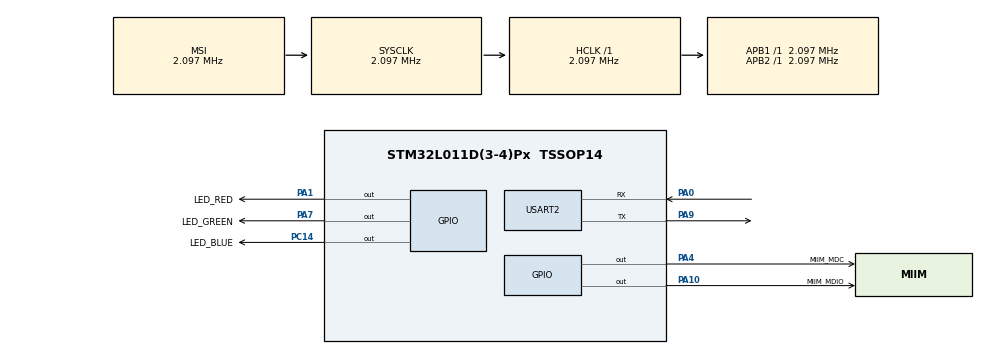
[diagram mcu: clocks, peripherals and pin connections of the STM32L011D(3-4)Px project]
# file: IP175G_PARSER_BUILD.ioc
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Dma.Request0=USART2_RX
Dma.Request1=USART2_TX
Dma.USART2_RX.0.Direction=DMA_PERIPH_TO_MEMORY
Dma.USART2_RX.0.Instance=DMA1_Channel5
Dma.USART2_RX.0.MemDataAlignment=DMA_MDATAALIGN_BYTE
Dma.USART2_RX.0.MemInc=DMA_MINC_ENABLE
Dma.USART2_RX.0.Mode=DMA_NORMAL
Dma.USART2_RX.0.PeriphDataAlignment=DMA_PDATAALIGN_BYTE
Dma.USART2_RX.0.PeriphInc=DMA_PINC_DISABLE
Dma.USART2_RX.0.Priority=DMA_PRIORITY_LOW
Dma.USART2_TX.1.Direction=DMA_MEMORY_TO_PERIPH
Dma.USART2_TX.1.Instance=DMA1_Channel4
Dma.USART2_TX.1.MemDataAlignment=DMA_MDATAALIGN_BYTE
Dma.USART2_TX.1.MemInc=DMA_MINC_ENABLE
Dma.USART2_TX.1.Mode=DMA_NORMAL
Dma.USART2_TX.1.PeriphDataAlignment=DMA_PDATAALIGN_BYTE
Dma.USART2_TX.1.PeriphInc=DMA_PINC_DISABLE
Dma.USART2_TX.1.Priority=DMA_PRIORITY_LOW
Mcu.Family=STM32L0
Mcu.Name=STM32L011D(3-4)Px
Mcu.Package=TSSOP14
NVIC.DMA1_Channel4_5_IRQn=true\:0\:0\:false\:false\:true\:false\:true
PA0-CK_IN.Mode=Asynchronous
PA0-CK_IN.Signal=USART2_RX
PA1.GPIO_Label=LED_RED
PA1.Signal=GPIO_Output
PA10.GPIO_Label=MIIM_MDIO
PA10.Signal=GPIO_Output
PA13.Mode=Serial_Wire
PA13.Signal=SYS_SWDIO
PA14.Mode=Serial_Wire
PA14.Signal=SYS_SWCLK
PA4.GPIO_Label=MIIM_MDC
PA4.Signal=GPIO_Output
PA7.GPIO_Label=LED_GREEN
PA7.Signal=GPIO_Output
PA9.Mode=Asynchronous
PA9.Signal=USART2_TX
PC14-OSC32_IN.GPIO_Label=LED_BLUE
PC14-OSC32_IN.Signal=GPIO_Output
ProjectManager.HeapSize=0x200
ProjectManager.StackSize=0x400
ProjectManager.TargetToolchain=STM32CubeIDE
RCC.AHBFreq_Value=2097000
RCC.APB1Freq_Value=2097000
RCC.APB1TimFreq_Value=2097000
RCC.APB2Freq_Value=2097000
RCC.APB2TimFreq_Value=2097000
RCC.HSE_VALUE=8000000
RCC.HSI16_VALUE=16000000
RCC.HSI_VALUE=16000000
RCC.LSE_VALUE=32768
RCC.MSI_VALUE=2097000
RCC.SYSCLKFreq_VALUE=2097000
RCC.VCOOutputFreq_Value=48000000
USART2.VirtualMode-Asynchronous=VM_ASYNC
board=custom

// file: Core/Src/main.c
/* USER CODE BEGIN Header */
/**
  ******************************************************************************
  * @file           : main.c
  * @brief          : Main program body
  ******************************************************************************
  * @attention
  *
  * <h2><center>&copy; Copyright (c) 2020 STMicroelectronics.
  * All rights reserved.</center></h2>
  *
  * This software component is licensed by ST under BSD 3-Clause license,
  * the "License"; You may not use this file except in compliance with the
  * License. You may obtain a copy of the License at:
  *                        opensource.org/licenses/BSD-3-Clause
  *
  ******************************************************************************
  */
/* USER CODE END Header */
#include "main.h"
#include "miim_library.h"

/* USER CODE BEGIN PD */
#define buffer_size 4
#define stop_condition 100
#define erase_condition 101

#define data_eeprom_base_addr 0x08080000
#define data_eeprom_end_addr 0x080801FF

#define maximum_commands 20

#define data_eeprom_first_byte_mask 255
#define data_eeprom_second_byte_mask 65280
#define data_eeprom_third_byte_mask 16711680
#define data_eeprom_fourth_byte_mask 4278190080
/* USER CODE END PD */

UART_HandleTypeDef huart2;
DMA_HandleTypeDef hdma_usart2_rx;
DMA_HandleTypeDef hdma_usart2_tx;

/* USER CODE BEGIN PV */
uint8_t Is_Commands_Ready = 0;

uint8_t Error[] = {2};
uint8_t Success[] = {1};

uint8_t Buffer_Tx[buffer_size] = {80,81,82,83};
uint8_t Buffer_Rx[buffer_size];

uint8_t Commands_Total[maximum_commands][buffer_size];
uint8_t Commands_Current_Index = 0;

/* USER CODE END PV */

void SystemClock_Config(void);
static void MX_GPIO_Init(void);
static void MX_DMA_Init(void);
static void MX_USART2_UART_Init(void);

/* USER CODE BEGIN 0 */
//void HAL_UART_TxCpltCallback(UART_HandleTypeDef *huart) {
//	HAL_UART_Transmit_DMA(&huart2, Buffer_Tx, buffer_size);
//}

void HAL_UART_RxCpltCallback(UART_HandleTypeDef *huart) {
	if(Is_Erase()) {
		Erase_Eeprom_All();
	} else if(Has_Stopped()){
		Is_Commands_Ready = 1;
	} else {
		Store_Temp_Command();
	}

	HAL_UART_Receive_DMA(&huart2, Buffer_Rx, buffer_size);
}

uint8_t Has_Stopped() {
	uint8_t value_to_check = Buffer_Rx[0];
	switch(value_to_check) {
		case stop_condition:
			return 1;
		default:
			return 0;
	}
	return 0;
}

uint8_t Is_Erase() {
	uint8_t value_to_check = Buffer_Rx[0];
	switch(value_to_check) {
		case erase_condition:
			return 1;
		default:
			return 0;
	}
	return 0;
}

void Store_Temp_Command() {
	for(uint8_t i = 0; i < buffer_size; i++) {
		Commands_Total[Commands_Current_Index][i] = Buffer_Rx[i];
	}

	Commands_Current_Index++;
}

void Write_Commands_To_IC() {
	uint8_t PHY;
	uint8_t REG;
	uint16_t Data;

	for(uint8_t Cmd_Index = 0; Cmd_Index < maximum_commands; Cmd_Index++) {
		PHY = Commands_Total[Cmd_Index][0];
		REG = Commands_Total[Cmd_Index][1];

		// Test to see if PHY or REG are not acceptable values
		if(PHY < 2 || PHY > 24 || REG > 32) {
			break;
		}

		// We are going to assume that for now, the data is sent with the smallest byte [0:7] bits first, then [8:15]
		Data = ((uint16_t) Commands_Total[Cmd_Index][3] << 8) | (Commands_Total[Cmd_Index][2]);

		MIIM_DRIVER_WRITE(PHY, REG, Data);
		MDIO_WAIT(1);
	}

	// Uncomment the following code to verify what was written to the MCU
	/*
	for(uint8_t Cmd_Index = 0; Cmd_Index < maximum_commands; Cmd_Index++) {
		PHY = Commands_Total[Cmd_Index][0];
		REG = Commands_Total[Cmd_Index][1];
		if(PHY < 2 || PHY > 24 || REG > 32) {
			break;
		}
		// To verify what was written to the switch chip, add "dynamic printf"-type breakpoint to the following MDIO_WAIT line.
		// "%u:%02u 0x%02x 0x%02x (%u %u)\n", PHY, REG, Data & 0xFF, (Data >> 8) & 0xFF, Data & 0xFF, (Data >> 8) & 0xFF
		Data = MIIM_DRIVER_READ(PHY, REG);
		MDIO_WAIT(1);
	}
	// */
}

uint8_t Save_Commands_To_Eeprom() {
	uint32_t Current_Eeprom_Addr = data_eeprom_base_addr;
	uint32_t Data_Word;

	if (HAL_FLASHEx_DATAEEPROM_Unlock() == HAL_OK) {
		for(uint8_t i = 0; i < maximum_commands; i++) {
			// Write to the EEPROM address in multiples of 4 bytes as we are writing a 32 bit word at a time
			Current_Eeprom_Addr += 4;

			Erase_Eeprom_Addr(Current_Eeprom_Addr);

			// Create the 32 bit word from the 4x byte command
			Data_Word = (((uint32_t) Commands_Total[i][3] << 24) | ((uint32_t) Commands_Total[i][2] << 16) | ((uint32_t) Commands_Total[i][1] << 8) | (Commands_Total[i][0]));

			Write_Eeprom_Addr(Current_Eeprom_Addr, Data_Word);
		}
		if(HAL_FLASHEx_DATAEEPROM_Lock() == HAL_OK) {
			return 0;
		} else {
			Error_Handler();
			return 1;
		}
	} else {
		Error_Handler();
		return 1;
	}
	HAL_GPIO_TogglePin(GPIOA, LED_RED_Pin);
}

void Erase_Eeprom_Addr(uint32_t Eeprom_Address) {
	if(HAL_FLASHEx_DATAEEPROM_Erase(Eeprom_Address) == HAL_OK) {
		return;
	} else {
		Error_Handler();
	}
}

void Write_Eeprom_Addr(uint32_t Eeprom_Address, uint32_t Data) {
	if(HAL_FLASHEx_DATAEEPROM_Program(FLASH_TYPEPROGRAMDATA_WORD, Eeprom_Address, Data) == HAL_OK) {
		return;
	} else {
		Error_Handler();
	}
}

void Read_Eeprom_Data() {
	uint32_t Current_Eeprom_Addr = data_eeprom_base_addr;
	uint32_t Command;
	uint8_t PHY;
	uint8_t REG;

	for(uint8_t i = 0; i < maximum_commands; i++) {
		Current_Eeprom_Addr += 4;
		Command = *(uint32_t *)(Current_Eeprom_Addr);

		PHY = (uint8_t) (Command & data_eeprom_first_byte_mask);
		REG = (uint8_t) ((Command & data_eeprom_second_byte_mask) >> 8);

		// Check for invalid PHY and REG
		if(PHY < 2 || PHY > 24 || REG > 32) {
			break;
		}

		Commands_Total[i][0] = PHY;
		Commands_Total[i][1] = REG;
		Commands_Total[i][2] = (uint8_t) ((Command & data_eeprom_third_byte_mask) >> 16);
		Commands_Total[i][3] = (uint8_t) ((Command & data_eeprom_fourth_byte_mask) >> 24);
	}
}

void Configuration_From_Eeprom() {
	Read_Eeprom_Data();
	Blue_Light();
	Write_Commands_To_IC();
	Green_Light();

	// Reset each value in the Commands_Total array
	for(uint8_t i = 0; i < maximum_commands; i++) {
		Commands_Total[i][0] = 0;
		Commands_Total[i][1] = 0;
		Commands_Total[i][2] = 0;
		Commands_Total[i][3] = 0;
	}
}

uint8_t Erase_Eeprom_All(void) {
	uint32_t Current_Eeprom_Addr = data_eeprom_base_addr;

	if(HAL_FLASHEx_DATAEEPROM_Unlock() == HAL_OK) {
		for(uint8_t i = 0; i < maximum_commands; i++) {
			Current_Eeprom_Addr += 4;

			Erase_Eeprom_Addr(Current_Eeprom_Addr);

		}
		if(HAL_FLASHEx_DATAEEPROM_Lock() == HAL_OK) {
			return 0;
		} else {
			Error_Handler();
			return 1;
		}
	} else {
		Error_Handler();
		return 1;
	}

}

void Send_Error_Via_Uart() {
	HAL_UART_Transmit(&huart2, Error, sizeof(Error), 100);
	Red_Light();
}

void Send_Success_Via_Uart() {
	HAL_UART_Transmit(&huart2, Success, sizeof(Success), 100);
	Blue_Light();
}

void Blue_Light() {
	HAL_GPIO_WritePin(LED_BLUE_GPIO_Port, LED_BLUE_Pin, GPIO_PIN_RESET);
	HAL_GPIO_WritePin(GPIOA, LED_RED_Pin|LED_GREEN_Pin, GPIO_PIN_SET);
}

void Red_Light() {
	HAL_GPIO_WritePin(LED_BLUE_GPIO_Port, LED_BLUE_Pin, GPIO_PIN_SET);
	HAL_GPIO_WritePin(GPIOA, LED_GREEN_Pin, GPIO_PIN_SET);
	HAL_GPIO_WritePin(GPIOA, LED_RED_Pin, GPIO_PIN_RESET);
}

void Green_Light() {
	HAL_GPIO_WritePin(LED_BLUE_GPIO_Port, LED_BLUE_Pin, GPIO_PIN_SET);
	HAL_GPIO_WritePin(GPIOA, LED_RED_Pin, GPIO_PIN_SET);
	HAL_GPIO_WritePin(GPIOA, LED_GREEN_Pin, GPIO_PIN_RESET);
}

void White_Light() {
	HAL_GPIO_WritePin(LED_BLUE_GPIO_Port, LED_BLUE_Pin, GPIO_PIN_RESET);
	HAL_GPIO_WritePin(GPIOA, LED_RED_Pin|LED_GREEN_Pin, GPIO_PIN_RESET);
}

/* USER CODE END 0 */

int main(void)
{

  /* MCU Configuration--------------------------------------------------------*/
//  uint32_t JumpAddress= *(volatile uint32_t *)(0x1FFF0000 + 4);
//  void (* boot_loader)(void) = (void *) JumpAddress;
//  SYSCFG->CFGR1 = 0x1;  //Remap 0x00000000 to System Memory
//  boot_loader();

  /* Reset of all peripherals, Initializes the Flash interface and the Systick. */
   HAL_Init();

  /* Configure the system clock */
  SystemClock_Config();

  /* Initialize all configured peripherals */
  MX_GPIO_Init();
  MX_DMA_Init();
  MX_USART2_UART_Init();
  /* USER CODE BEGIN 2 */
  HAL_Delay(1000);
  Configuration_From_Eeprom();

  HAL_UART_Receive_DMA(&huart2, Buffer_Rx, buffer_size);

  /* USER CODE END 2 */

  /* Infinite loop */
  while (1)
  {

    /* USER CODE BEGIN 3 */
	  if(Is_Commands_Ready) {
		  Red_Light();
		  Write_Commands_To_IC();
		  Green_Light();
		  uint8_t Condition = Save_Commands_To_Eeprom();
		  if(Condition == 0) {
			  // Success
			  Send_Success_Via_Uart();
		  } else if(Condition == 1) {
			  // Failure
			  Send_Error_Via_Uart();
		  }

		  Is_Commands_Ready = 0;
		  Commands_Current_Index = 0;

		  // Reset the LED to emit white light
		  HAL_Delay(500);
		  Green_Light();
	  }
  }
  /* USER CODE END 3 */
}

void SystemClock_Config(void)
{
  RCC_OscInitTypeDef RCC_OscInitStruct = {0};
  RCC_ClkInitTypeDef RCC_ClkInitStruct = {0};
  RCC_PeriphCLKInitTypeDef PeriphClkInit = {0};

  /** Configure the main internal regulator output voltage
  */
  __HAL_PWR_VOLTAGESCALING_CONFIG(PWR_REGULATOR_VOLTAGE_SCALE1);
  /** Initializes the RCC Oscillators according to the specified parameters
  * in the RCC_OscInitTypeDef structure.
  */
  RCC_OscInitStruct.OscillatorType = RCC_OSCILLATORTYPE_MSI;
  RCC_OscInitStruct.MSIState = RCC_MSI_ON;
  RCC_OscInitStruct.MSICalibrationValue = 0;
  RCC_OscInitStruct.MSIClockRange = RCC_MSIRANGE_5;
  RCC_OscInitStruct.PLL.PLLState = RCC_PLL_NONE;
  if (HAL_RCC_OscConfig(&RCC_OscInitStruct) != HAL_OK)
  {
    Error_Handler();
  }
  /** Initializes the CPU, AHB and APB buses clocks
  */
  RCC_ClkInitStruct.ClockType = RCC_CLOCKTYPE_HCLK|RCC_CLOCKTYPE_SYSCLK
                              |RCC_CLOCKTYPE_PCLK1|RCC_CLOCKTYPE_PCLK2;
  RCC_ClkInitStruct.SYSCLKSource = RCC_SYSCLKSOURCE_MSI;
  RCC_ClkInitStruct.AHBCLKDivider = RCC_SYSCLK_DIV1;
  RCC_ClkInitStruct.APB1CLKDivider = RCC_HCLK_DIV1;
  RCC_ClkInitStruct.APB2CLKDivider = RCC_HCLK_DIV1;

  if (HAL_RCC_ClockConfig(&RCC_ClkInitStruct, FLASH_LATENCY_0) != HAL_OK)
  {
    Error_Handler();
  }
  PeriphClkInit.PeriphClockSelection = RCC_PERIPHCLK_USART2;
  PeriphClkInit.Usart2ClockSelection = RCC_USART2CLKSOURCE_PCLK1;
  if (HAL_RCCEx_PeriphCLKConfig(&PeriphClkInit) != HAL_OK)
  {
    Error_Handler();
  }
}

static void MX_USART2_UART_Init(void)
{

  huart2.Instance = USART2;
  huart2.Init.BaudRate = 115200;
  huart2.Init.WordLength = UART_WORDLENGTH_8B;
  huart2.Init.StopBits = UART_STOPBITS_1;
  huart2.Init.Parity = UART_PARITY_NONE;
  huart2.Init.Mode = UART_MODE_TX_RX;
  huart2.Init.HwFlowCtl = UART_HWCONTROL_NONE;
  huart2.Init.OverSampling = UART_OVERSAMPLING_16;
  huart2.Init.OneBitSampling = UART_ONE_BIT_SAMPLE_DISABLE;
  huart2.AdvancedInit.AdvFeatureInit = UART_ADVFEATURE_NO_INIT;
  if (HAL_UART_Init(&huart2) != HAL_OK)
  {
    Error_Handler();
  }

}

static void MX_DMA_Init(void)
{

  /* DMA controller clock enable */
  __HAL_RCC_DMA1_CLK_ENABLE();

  /* DMA interrupt init */
  /* DMA1_Channel4_5_IRQn interrupt configuration */
  HAL_NVIC_SetPriority(DMA1_Channel4_5_IRQn, 0, 0);
  HAL_NVIC_EnableIRQ(DMA1_Channel4_5_IRQn);

}

static void MX_GPIO_Init(void)
{
  GPIO_InitTypeDef GPIO_InitStruct = {0, GPIO_MODE_OUTPUT_PP, GPIO_NOPULL, GPIO_SPEED_FREQ_LOW, 0};

  /* GPIO Ports Clock Enable */
  __HAL_RCC_GPIOC_CLK_ENABLE();
  __HAL_RCC_GPIOA_CLK_ENABLE();

  /*Configure GPIO pin Output Level */
  HAL_GPIO_WritePin(LED_BLUE_GPIO_Port, LED_BLUE_Pin, GPIO_PIN_RESET);

  /*Configure GPIO pin Output Level */
  HAL_GPIO_WritePin(GPIOA, LED_RED_Pin|MIIM_MDC_Pin|LED_GREEN_Pin|MIIM_MDIO_Pin, GPIO_PIN_RESET);

  /*Configure GPIO pin : LED_BLUE_Pin */
  GPIO_InitStruct.Pin = LED_BLUE_Pin;
  // Commented out to shrink program size and fit into the flash memory; these values are already set.
  //GPIO_InitStruct.Mode = GPIO_MODE_OUTPUT_PP;
  //GPIO_InitStruct.Pull = GPIO_NOPULL;
  //GPIO_InitStruct.Speed = GPIO_SPEED_FREQ_LOW;
  HAL_GPIO_Init(LED_BLUE_GPIO_Port, &GPIO_InitStruct);

  /*Configure GPIO pins : LED_RED_Pin MIIM_MDC_Pin LED_GREEN_Pin MIIM_MDIO_Pin */
  GPIO_InitStruct.Pin = LED_RED_Pin|MIIM_MDC_Pin|LED_GREEN_Pin|MIIM_MDIO_Pin;
  // Commented out to shrink program size and fit into the flash memory; these values are already set.
  //GPIO_InitStruct.Mode = GPIO_MODE_OUTPUT_PP;
  //GPIO_InitStruct.Pull = GPIO_NOPULL;
  //GPIO_InitStruct.Speed = GPIO_SPEED_FREQ_LOW;
  HAL_GPIO_Init(GPIOA, &GPIO_InitStruct);

}

void Error_Handler(void)
{
  __disable_irq();
  while (1)
  {
  }
}

/************************ (C) COPYRIGHT STMicroelectronics *****END OF FILE****/
